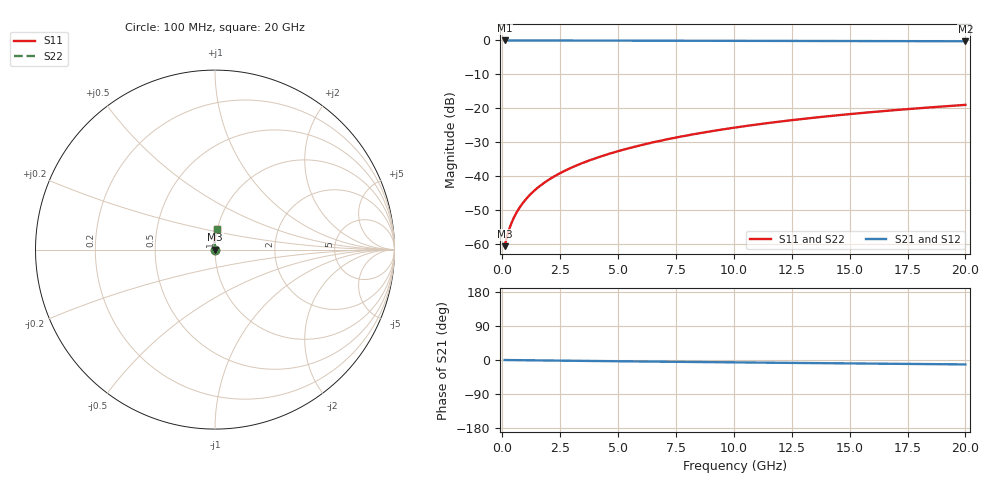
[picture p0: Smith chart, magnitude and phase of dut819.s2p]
! Touchstone file exported from HFSS 2024.1.0
!  File:  C:/UserFiles/LocalFiles/RDL_TSV_Batchsim/temp_RDL_bottom_819_1779862702.aedt
!  Generated:  02:20:32 PM May 27, 2026
!  Design:  RDL_bottom
!  Project:  temp_RDL_bottom_819_1779862702
!  Setup:  Setup1
!  Solution:  Sweep
! Variables:
!  dtsv = 10.80580581um
!  hbump = 3um
!  htsv = 86.24um
!  ldown = 152.73um
!  lrdl = 100um
!  p = 40
!  p1 = 46.58um
!  rhole = 1um
!  t = 450um
!  tdown = 3.66um
!  trdl = 3.915915916um
!  wdown = 26.81um
!  wrdl = 20um
# GHz S MA R 50.000000
! Terminal data exported
! Port[1] = RDL1_T1
! Port[2] = RDL1_T2
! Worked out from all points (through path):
!   200 points, 100 MHz to 20 GHz, reference 50 ohm
!   highest |S21| = -0.01 dB at 100 MHz (marker M1); lowest = -0.2 dB at 20 GHz (marker M2)
!   group delay of S21, straight-line fit = 1.6 ps
!   lowest |S11| = -60.5 dB at 100 MHz (marker M3), VSWR 1.00, Z = 50.1 + j0.0511 ohm
!   |S11| at or under -10 dB: start of sweep to end of sweep
!   |S22| runs from -60.5 to -19.0 dB; largest |S21 - S12| = 3.1e-15
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0.1  0.0009414 32.8  0.9992 -0.1  0.9992 -0.1  0.0009414 32.8
! Gamma 0 0 0 0
! Port Impedance 50 0 50 0
0.2  0.001296 49.7  0.9991 -0.1  0.9991 -0.1  0.001296 49.7
0.3  0.001684 58.5  0.9991 -0.2  0.9991 -0.2  0.001684 58.5
0.4  0.002077 64.1  0.999 -0.3  0.999 -0.3  0.002077 64.1
0.5  0.002474 68.1  0.999 -0.4  0.999 -0.4  0.002474 68.1
0.6  0.002876 71.2  0.9989 -0.4  0.9989 -0.4  0.002876 71.2
0.8  0.003696 75.7  0.9988 -0.6  0.9988 -0.6  0.003696 75.7
1.1  0.004959 80.0  0.9987 -0.8  0.9987 -0.8  0.004959 80.0
1.3  0.005817 81.9  0.9986 -0.9  0.9986 -0.9  0.005817 81.9
1.6  0.007124 84.2  0.9984 -1.1  0.9984 -1.1  0.007124 84.2
2.1  0.009352 86.8  0.9979 -1.4  0.9979 -1.4  0.009352 86.8
2.7  0.0121 88.8  0.9973 -1.8  0.9973 -1.8  0.0121 88.8
3.5  0.01591 90.7  0.9963 -2.4  0.9963 -2.4  0.01591 90.7
4.2  0.01938 91.8  0.9953 -2.8  0.9953 -2.8  0.01938 91.8
5  0.0235 92.7  0.994 -3.3  0.994 -3.3  0.0235 92.7
6.8  0.0333 93.4  0.9909 -4.4  0.9909 -4.4  0.0333 93.4
8.4  0.04251 93.2  0.9882 -5.3  0.9882 -5.3  0.04251 93.2
10.1  0.05261 92.5  0.9855 -6.3  0.9855 -6.3  0.05261 92.5
11.7  0.06229 91.5  0.9831 -7.2  0.9831 -7.2  0.06229 91.5
13.4  0.07267 90.3  0.9807 -8.1  0.9807 -8.1  0.07267 90.3
16.7  0.09282 87.8  0.9763 -9.9  0.9763 -9.9  0.09282 87.8
20  0.1128 85.4  0.9723 -11.7  0.9723 -11.7  0.1128 85.4
